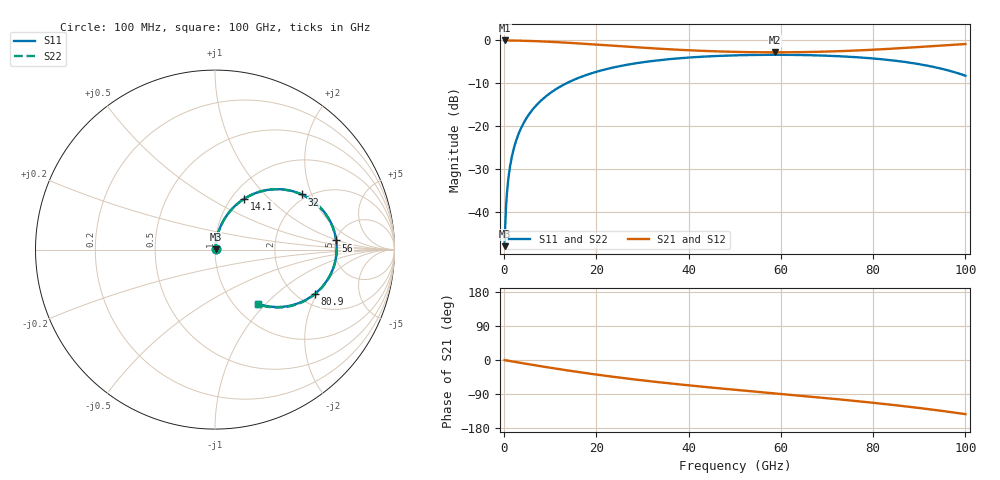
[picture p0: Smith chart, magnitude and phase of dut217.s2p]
! Touchstone file exported from HFSS 2026.1.0
!  File:  C:/ffzhzh/LocalFiles/Ansys_Project_Files/temp_train_RDL_217_1783500954_41296.aedt
!  Generated:  04:57:08 PM Jul  8, 2026
!  Design:  RDL
!  Project:  temp_train_RDL_217_1783500954_41296
! Variables:
!  h_bsmrdl = 2um
!  h_ox = 20um
!  h_rdl = 5um
!  h_sub = 80um
!  h_tmrdl = 4.71um
!  h_tsv = 80um
!  h_via = 3um
!  l_bsmrdl = 300um
!  l_sub = 900.97um
!  l_tmrdl = 500.97um
!  m_sub = 200um
!  pitch = 51.05um
!  r_tsv = 6um
!  s_tmrdl = 10um
!  w_bsmrdl = 18um
!  w_sub = 500um
!  w_tmrdl = 13.45um
!  x_tsv_center1 = 507.695um
!  x_tsv_center2 = 825.695um
!  x_tsv_center3 = 1340.115um
!  x_tsv_center4 = 1658.115um
!  x_tsv_center5 = 2172.535um
!  x_tsv_center6 = 2490.535um
# GHz S MA R 50.000000
! Terminal data exported
! Port[1] = TM_RDL1_1_T1
! Port[2] = TM_RDL1_1_T2
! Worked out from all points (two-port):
!   1000 points, 100 MHz to 100 GHz, reference 50 ohm
!   highest |S21| = -0.02 dB at 100 MHz (marker M1); lowest = -2.8 dB at 58.7 GHz (marker M2)
!   |S21| within 3 dB of the highest: start of sweep to end of sweep
!   lowest |S11| = -48.1 dB at 100 MHz (marker M3), VSWR 1.01, Z = 50.3 + j0.272 ohm
!   |S11| at or under -10 dB: start of sweep to 13.55 GHz
!   |S22| runs from -48.1 to -3.4 dB; largest |S21 - S12| = 1.6e-14
!   S11 on the Smith chart (normalised r, x): 100 MHz: 1.01, +0.01; 14.1 GHz: 1.14, +0.73; 32 GHz: 1.86, +1.70; 56 GHz: 5.01, +0.94; 80.9 GHz: 2.44, -1.91; 100 GHz: 1.27, -0.91
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0.1  0.003951 43.2  0.9971 -0.2  0.9971 -0.2  0.003951 43.2
! Gamma 0 0 0 0
! Port Impedance 50 0 50 0
0.8  0.02133 79.4  0.9965 -1.7  0.9965 -1.7  0.02134 79.4
1.3  0.03419 81.4  0.9959 -2.8  0.9959 -2.8  0.03419 81.3
2.2  0.0573 81.4  0.9944 -4.7  0.9944 -4.7  0.0573 81.4
3.5  0.09025 79.6  0.9912 -7.4  0.9912 -7.4  0.09025 79.6
5.3  0.1346 76.4  0.985 -11.1  0.985 -11.1  0.1346 76.3
7.6  0.1889 72.0  0.9746 -15.8  0.9746 -15.8  0.1889 72.0
10.6  0.2556 66.4  0.958 -21.6  0.958 -21.6  0.2556 66.4
14.1  0.3269 60.1  0.9352 -28.2  0.9352 -28.2  0.3269 60.1
16.8  0.3765 55.4  0.9159 -33.0  0.9159 -33.0  0.3765 55.4
23.9  0.4849 44.0  0.8633 -44.7  0.8633 -44.7  0.4849 43.9
32  0.5729 32.4  0.8083 -56.5  0.8083 -56.5  0.5729 32.3
33.4  0.5847 30.6  0.7999 -58.4  0.7999 -58.4  0.5847 30.4
41.7  0.6383 20.3  0.7588 -68.9  0.7588 -68.9  0.6383 20.1
50.1  0.6682 10.7  0.7334 -78.7  0.7334 -78.7  0.6682 10.5
56  0.6771 4.3  0.7255 -85.2  0.7255 -85.2  0.6771 4.0
58.7  0.6782 1.4  0.7247 -88.2  0.7247 -88.2  0.6781 1.1
66.7  0.67 -7.3  0.7321 -97.1  0.7321 -97.1  0.6699 -7.6
80.9  0.6083 -23.9  0.782 -114.1  0.782 -114.1  0.6083 -24.3
83.4  0.5898 -27.1  0.7955 -117.4  0.7955 -117.4  0.5897 -27.5
92.3  0.4997 -39.5  0.8521 -130.1  0.8521 -130.1  0.4996 -40.0
100  0.3866 -51.4  0.906 -142.9  0.906 -142.9  0.3864 -52.1
